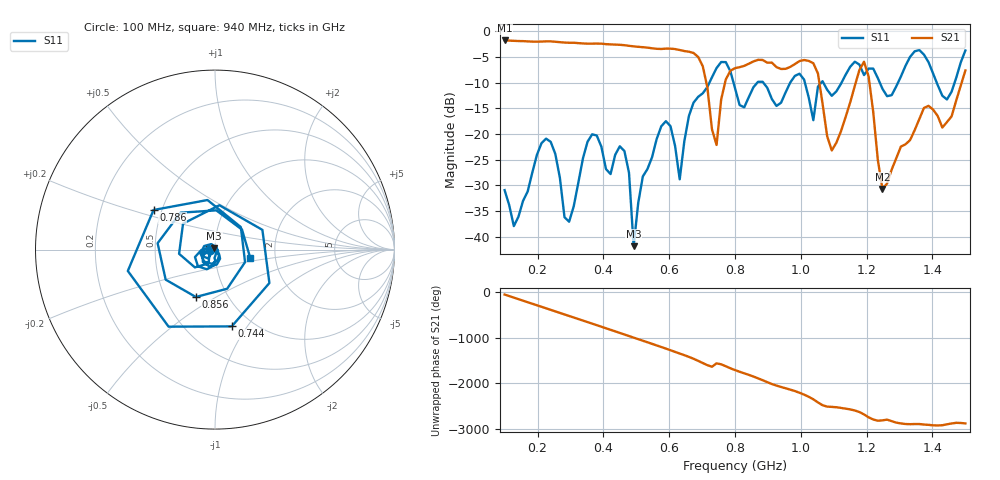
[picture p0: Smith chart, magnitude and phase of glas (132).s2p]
! NanoVNA-App
! Date: 2025-09-25 15:56:30
! Start: 100MHz Stop: 1,5GHz Points: 101
! S-Parameter data: F S11 S21 S12 S22
# Hz S RI R 50
!  Frequency  S11_Real  S11_Imag  S21_Real  S21_Imag  S12_Real  S12_Imag  S22_Real  S22_Imag
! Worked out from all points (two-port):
!   101 points, 100 MHz to 1.5 GHz, reference 50 ohm
!   highest |S21| = -1.80 dB at 100 MHz (marker M1); lowest = -30.7 dB at 1.248 GHz (marker M2)
!   |S21| within 3 dB of the highest: start of sweep to 684.3 MHz
!   lowest |S11| = -41.9 dB at 492 MHz (marker M3), VSWR 1.02, Z = 49.5 + j0.63 ohm
!   |S11| at or under -10 dB: start of sweep to 722.4 MHz; 795.4 MHz to 868 MHz (72.59 MHz wide, 8.73 % of centre); 885.8 MHz to 967.8 MHz (82.04 MHz wide, 8.85 % of centre) (the widest 3 of 7)
!   S12 and S22 are empty: the file has one direction only
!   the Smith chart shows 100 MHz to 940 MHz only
!   S11 on the Smith chart (normalised r, x): 100 MHz: 0.95, -0.01; 744 MHz: 0.80, -0.85; 786 MHz: 0.45, +0.24; 856 MHz: 0.71, -0.41; 940 MHz: 1.48, -0.14
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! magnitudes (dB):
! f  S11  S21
! 100 MHz  -31.0  -1.8
! 128 MHz  -38.0  -1.9
! 226 MHz  -20.9  -2.0
! 296 MHz  -37.1  -2.2
! 338 MHz  -24.8  -2.4
! 464 MHz  -23.3  -2.7
! 492 MHz  -41.9  -3.0
! 576 MHz  -18.5  -3.5
! 632 MHz  -28.8  -3.7
! 702 MHz  -12.1  -6.8
! 744 MHz  -7.2  -22.2
! 786 MHz  -7.8  -7.7
! 800 MHz  -11.1  -7.2
! 856 MHz  -10.9  -5.9
! 940 MHz  -13.9  -7.4
! 996 MHz  -8.3  -5.8
! 1.038 GHz  -17.3  -6.2
! 1.094 GHz  -12.6  -23.2
! 1.192 GHz  -8.5  -5.9
! 1.248 GHz  -11.2  -30.7
! 1.276 GHz  -12.5  -26.9
! 1.5 GHz  -3.7  -7.6
